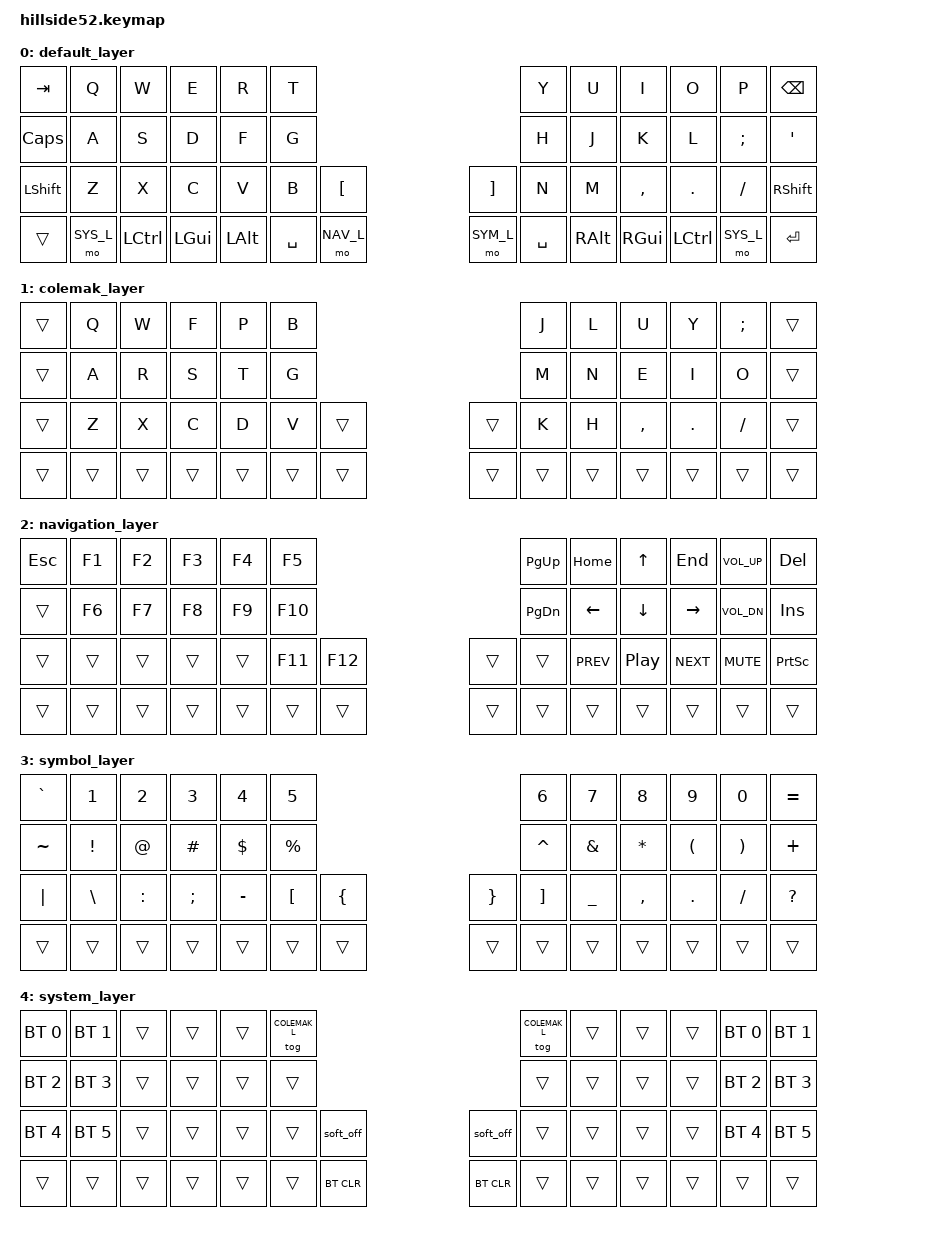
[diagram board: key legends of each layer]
/*
 * Copyright (c) 2021-2022 The ZMK Contributors
 *
 * SPDX-License-Identifier: MIT
 */

#include <behaviors.dtsi>
#include <dt-bindings/zmk/bt.h>
#include <dt-bindings/zmk/ext_power.h>
#include <dt-bindings/zmk/keys.h>
#include <dt-bindings/zmk/outputs.h>

#define DEFAULT_L 0
#define COLEMAK_L 1
#define NAV_L     2
#define SYM_L     3
#define SYS_L     4

 /*
                default_layer {
                        bindings = <
&trans &trans &trans &trans &trans &trans                               &trans &trans &trans &trans &trans &trans
&trans &trans &trans &trans &trans &trans                               &trans &trans &trans &trans &trans &trans
&trans &trans &trans &trans &trans &trans &trans                 &trans &trans &trans &trans &trans &trans &trans
&trans &trans &trans        &trans &trans &trans &trans   &trans &trans &trans &trans        &trans &trans &trans
                        >;
                };
 */
&soft_off {
    hold-time-ms = <3000>; // Only turn off it the key is held for 5 seconds or longer.
};

/ {
	combos {
		compatible = "zmk,combos";
		combo_lc {
			timeout-ms = <50>;
			key-positions = <13 14>;
			bindings = <&kp LCTRL>;
			layers = <0 1>;
		};
		combo_ls {
			timeout-ms = <50>;
			key-positions = <14 15>;
			bindings = <&kp LGUI>;
			layers = <0 1>;
		};
		combo_la {
			timeout-ms = <50>;
			key-positions = <15 16>;
			bindings = <&kp LALT>;
			layers = <0 1>;
		};
		/* Mirror to right side */
		combo_ra {
			timeout-ms = <50>;
			key-positions = <19 20>;
			bindings = <&kp RALT>;
			layers = <0 1>;
		};
		combo_rs {
			timeout-ms = <50>;
			key-positions = <20 21>;
			bindings = <&kp RGUI>;
			layers = <0 1>;
		};
		combo_rc {
			timeout-ms = <50>;
			key-positions = <21 22>;
			bindings = <&kp RCTRL>;
			layers = <0 1>;
		};
	};
        keymap {
                compatible = "zmk,keymap";

                default_layer {
                        bindings = <
&kp TAB   &kp Q     &kp W     &kp E  &kp R    &kp T                                              &kp Y    &kp U    &kp I     &kp O     &kp P     &kp BSPC
&kp CAPS  &kp A     &kp S     &kp D  &kp F    &kp G                                              &kp H    &kp J    &kp K     &kp L     &kp SEMI  &kp SQT
&kp LSHFT &kp Z     &kp X     &kp C  &kp V    &kp B    &kp LBKT                        &kp RBKT  &kp N    &kp M    &kp COMMA &kp DOT   &kp FSLH  &kp RSHFT
&trans    &mo SYS_L &kp LCTRL        &kp LGUI &kp LALT &kp SPACE &mo NAV_L   &mo SYM_L &kp SPACE &kp RALT &kp RGUI           &kp LCTRL &mo SYS_L &kp RET
                        >;
                };
                colemak_layer {
                        bindings = <
&trans &kp Q  &kp W  &kp F &kp P  &kp B                                &kp J  &kp L  &kp U     &kp Y   &kp SEMI &trans
&trans &kp A  &kp R  &kp S &kp T  &kp G                                &kp M  &kp N  &kp E     &kp I   &kp O    &trans
&trans &kp Z  &kp X  &kp C &kp D  &kp V  &trans                 &trans &kp K  &kp H  &kp COMMA &kp DOT &kp FSLH &trans
&trans &trans &trans       &trans &trans &trans &trans   &trans &trans &trans &trans           &trans  &trans   &trans
                        >;
                };
                navigation_layer {
                        bindings = <
&kp ESC &kp F1 &kp F2 &kp F3 &kp F4 &kp F5                                &kp PG_UP &kp HOME   &kp UP   &kp END    &kp C_VOL_UP &kp DEL
&trans  &kp F6 &kp F7 &kp F8 &kp F9 &kp F10                               &kp PG_DN &kp LEFT   &kp DOWN &kp RIGHT  &kp C_VOL_DN &kp INS
&trans  &trans &trans &trans &trans &kp F11 &kp F12                &trans &trans    &kp C_PREV &kp C_PP &kp C_NEXT &kp C_MUTE   &kp PSCRN
&trans  &trans &trans        &trans &trans  &trans &trans   &trans &trans &trans    &trans              &trans     &trans       &trans
                        >;
                };
                symbol_layer {
                        bindings = <
&kp GRAVE &kp N1   &kp N2    &kp N3   &kp N4    &kp N5                                      &kp N6    &kp N7    &kp N8    &kp N9   &kp N0   &kp EQUAL
&kp TILDE &kp EXCL &kp AT    &kp HASH &kp DLLR  &kp PRCNT                                   &kp CARET &kp AMPS  &kp STAR  &kp LPAR &kp RPAR &kp PLUS
&kp PIPE  &kp BSLH &kp COLON &kp SEMI &kp MINUS &kp LBKT  &kp LBRC                 &kp RBRC &kp RBKT  &kp UNDER &kp COMMA &kp DOT  &kp FSLH &kp QMARK 
&trans    &trans   &trans             &trans    &trans    &trans   &trans   &trans &trans   &trans    &trans              &trans   &trans   &trans
                        >;
                };
                system_layer {
                        bindings = <
&bt BT_SEL 0 &bt BT_SEL 1 &trans &trans &trans &tog COLEMAK_L                                     &tog COLEMAK_L &trans &trans &trans &bt BT_SEL 0 &bt BT_SEL 1
&bt BT_SEL 2 &bt BT_SEL 3 &trans &trans &trans &trans                                             &trans         &trans &trans &trans &bt BT_SEL 2 &bt BT_SEL 3
&bt BT_SEL 4 &bt BT_SEL 5 &trans &trans &trans &trans &soft_off                         &soft_off &trans         &trans &trans &trans &bt BT_SEL 4 &bt BT_SEL 5
&trans       &trans       &trans        &trans &trans &trans    &bt BT_CLR   &bt BT_CLR &trans    &trans         &trans        &trans &trans       &trans
                        >;
                };
        };
};
